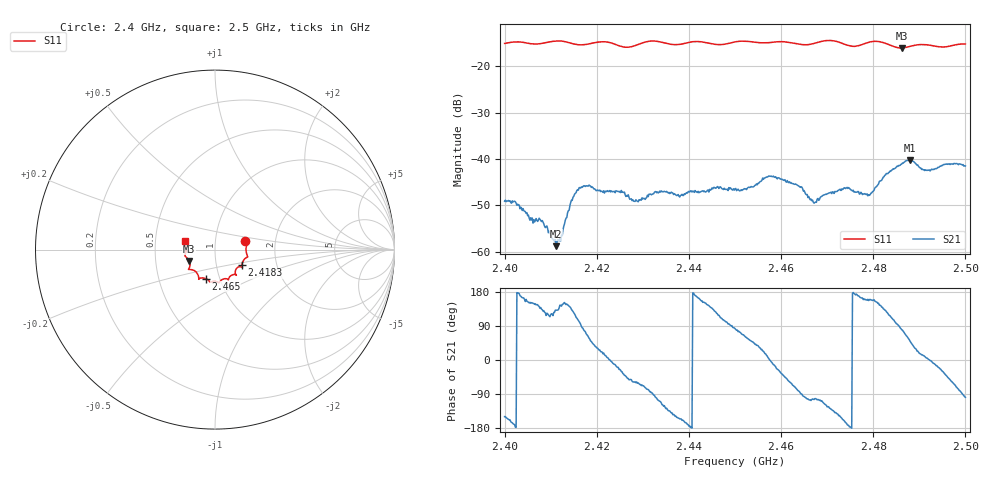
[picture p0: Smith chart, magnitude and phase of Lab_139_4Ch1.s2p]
# Hz S RI R 50
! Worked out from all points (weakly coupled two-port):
!   601 points, 2.4 GHz to 2.5 GHz, reference 50 ohm
!   highest |S21| = -40.26 dB at 2.488 GHz (marker M1); lowest = -58.8 dB at 2.4112 GHz (marker M2)
!   lowest |S11| = -16.1 dB at 2.4862 GHz (marker M3), VSWR 1.37, Z = 37.2 - j4.83 ohm
!   |S11| at or under -10 dB: start of sweep to end of sweep
!   S12 and S22 are empty: the file has one direction only
!   S11 on the Smith chart (normalised r, x): 2.4 GHz: 1.40, +0.14; 2.4183 GHz: 1.33, -0.24; 2.465 GHz: 0.86, -0.28; 2.5 GHz: 0.71, +0.07
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2.4e9  0.1689 0.0469  -0.00303 -0.00179  0 0  0 0
2.408e9  0.1746 -0.0157  -0.00148 0.00152  0 0  0 0
2.411167e9  0.1821 -0.0387  -0.000765 0.000863  0 0  0 0
2.412333e9  0.1814 -0.0414  -0.00119 0.000925  0 0  0 0
2.414833e9  0.1664 -0.0508  -0.0024 0.00304  0 0  0 0
2.416667e9  0.1549 -0.0683  8.79e-05 0.00501  0 0  0 0
2.418333e9  0.1503 -0.0871  0.00281 0.00442  0 0  0 0
2.4255e9  0.1295 -0.0972  0.00375 -0.00227  0 0  0 0
2.4285e9  0.1129 -0.1236  0.00183 -0.00315  0 0  0 0
2.433333e9  0.1177 -0.1412  -0.0012 -0.00414  0 0  0 0
2.438333e9  0.0809 -0.1518  -0.00373 -0.00169  0 0  0 0
2.45e9  0.0264 -0.1803  0.000608 0.00474  0 0  0 0
2.457833e9  -0.0163 -0.1792  0.00654 -0.000493  0 0  0 0
2.465e9  -0.0523 -0.1614  -0.000518 -0.00455  0 0  0 0
2.466667e9  -0.0713 -0.1575  -0.000868 -0.00345  0 0  0 0
2.474167e9  -0.0951 -0.14  -0.00475 -0.00114  0 0  0 0
2.479167e9  -0.1433 -0.111  -0.0038 0.00144  0 0  0 0
2.483333e9  -0.141 -0.0962  -0.00351 0.00624  0 0  0 0
2.486167e9  -0.1433 -0.0633  0.00152 0.00869  0 0  0 0
2.488e9  -0.1562 -0.0469  0.00633 0.00736  0 0  0 0
2.491333e9  -0.1669 -0.0325  0.00759 0.000972  0 0  0 0
2.5e9  -0.1665 0.047  -0.00123 -0.00832  0 0  0 0
